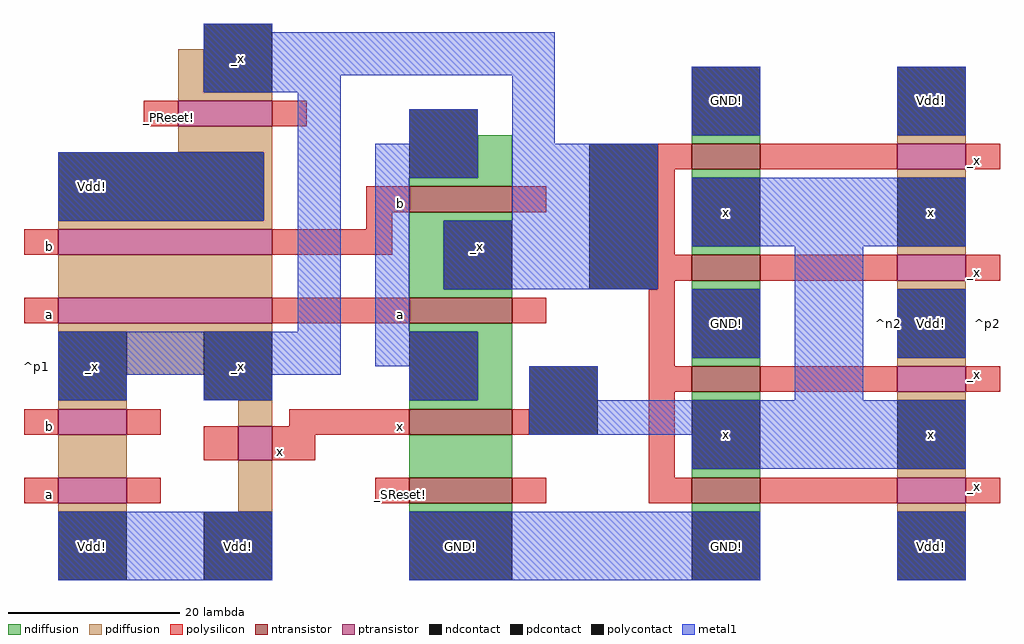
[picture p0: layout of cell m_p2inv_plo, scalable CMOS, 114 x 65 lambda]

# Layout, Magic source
magic
tech scmos
<< ndiffusion >>
rect 135 81 139 86
rect 160 85 168 86
rect 127 80 139 81
rect 127 76 139 77
rect 127 68 131 76
rect 160 81 168 82
rect 160 72 168 73
rect 127 67 139 68
rect 127 63 139 64
rect 135 55 139 63
rect 160 68 168 69
rect 160 59 168 60
rect 127 54 139 55
rect 127 46 139 51
rect 160 55 168 56
rect 160 46 168 47
rect 127 42 139 43
rect 160 42 168 43
<< pdiffusion >>
rect 100 91 103 96
rect 100 90 111 91
rect 100 84 111 87
rect 110 76 111 84
rect 184 85 192 86
rect 86 75 111 76
rect 86 67 111 72
rect 184 81 192 82
rect 184 72 192 73
rect 86 63 111 64
rect 94 58 103 63
rect 86 54 94 55
rect 107 52 111 55
rect 184 68 192 69
rect 184 59 192 60
rect 86 46 94 51
rect 86 42 94 43
rect 107 42 111 48
rect 184 55 192 56
rect 184 46 192 47
rect 184 42 192 43
<< ntransistor >>
rect 127 77 139 80
rect 160 82 168 85
rect 160 69 168 72
rect 127 64 139 67
rect 127 51 139 54
rect 160 56 168 59
rect 127 43 139 46
rect 160 43 168 46
<< ptransistor >>
rect 100 87 111 90
rect 86 72 111 75
rect 184 82 192 85
rect 184 69 192 72
rect 86 64 111 67
rect 86 51 94 54
rect 107 48 111 52
rect 184 56 192 59
rect 86 43 94 46
rect 184 43 192 46
<< polysilicon >>
rect 96 87 100 90
rect 111 87 115 90
rect 122 77 127 80
rect 139 77 143 80
rect 122 75 125 77
rect 82 72 86 75
rect 111 72 125 75
rect 156 82 160 85
rect 168 82 184 85
rect 192 82 196 85
rect 156 72 158 82
rect 156 69 160 72
rect 168 69 184 72
rect 192 69 196 72
rect 156 68 158 69
rect 82 64 86 67
rect 111 64 127 67
rect 139 64 143 67
rect 82 51 86 54
rect 94 51 98 54
rect 155 59 158 68
rect 113 52 127 54
rect 103 48 107 52
rect 111 51 127 52
rect 139 51 141 54
rect 155 56 160 59
rect 168 56 184 59
rect 192 56 196 59
rect 111 48 116 51
rect 82 43 86 46
rect 94 43 98 46
rect 155 46 158 56
rect 123 43 127 46
rect 139 43 143 46
rect 155 43 160 46
rect 168 43 184 46
rect 192 43 196 46
<< ndcontact >>
rect 127 81 135 89
rect 160 86 168 94
rect 131 68 139 76
rect 160 73 168 81
rect 127 55 135 63
rect 160 60 168 68
rect 160 47 168 55
rect 127 34 139 42
rect 160 34 168 42
<< pdcontact >>
rect 103 91 111 99
rect 86 76 110 84
rect 184 86 192 94
rect 184 73 192 81
rect 86 55 94 63
rect 103 55 111 63
rect 184 60 192 68
rect 184 47 192 55
rect 86 34 94 42
rect 103 34 111 42
rect 184 34 192 42
<< polycontact >>
rect 148 68 156 85
rect 141 51 149 59
<< metal1 >>
rect 103 98 111 99
rect 103 93 144 98
rect 103 91 119 93
rect 86 76 110 84
rect 114 63 119 91
rect 127 85 135 89
rect 86 58 119 63
rect 123 81 135 85
rect 139 85 144 93
rect 160 86 168 94
rect 184 86 192 94
rect 123 63 127 81
rect 139 76 156 85
rect 131 68 156 76
rect 160 73 192 81
rect 123 59 135 63
rect 160 60 168 68
rect 86 55 94 58
rect 103 55 111 58
rect 127 55 135 59
rect 141 55 149 59
rect 172 55 180 73
rect 184 60 192 68
rect 141 51 192 55
rect 160 47 192 51
rect 86 34 111 42
rect 127 34 168 42
rect 184 34 192 42
<< labels >>
rlabel metal1 107 38 107 38 1 Vdd!
rlabel polysilicon 85 73 85 73 3 b
rlabel polysilicon 85 65 85 65 3 a
rlabel polysilicon 85 52 85 52 3 b
rlabel polysilicon 85 44 85 44 3 a
rlabel metal1 90 80 90 80 1 Vdd!
rlabel metal1 90 38 90 38 1 Vdd!
rlabel metal1 133 38 133 38 1 GND!
rlabel polysilicon 126 52 126 52 1 x
rlabel polysilicon 126 78 126 78 1 b
rlabel polysilicon 126 65 126 65 1 a
rlabel metal1 135 73 135 73 1 _x
rlabel polysilicon 193 83 193 83 1 _x
rlabel pdcontact 188 90 188 90 5 Vdd!
rlabel ndcontact 164 90 164 90 5 GND!
rlabel ndcontact 164 38 164 38 1 GND!
rlabel polysilicon 193 58 193 58 5 _x
rlabel polysilicon 193 45 193 45 5 _x
rlabel pdcontact 188 38 188 38 1 Vdd!
rlabel pdcontact 188 51 188 51 5 x
rlabel ndcontact 164 64 164 64 1 GND!
rlabel polysilicon 193 70 193 70 1 _x
rlabel pdcontact 188 64 188 64 1 Vdd!
rlabel pdcontact 188 77 188 77 1 x
rlabel ndcontact 164 77 164 77 1 x
rlabel ndcontact 164 51 164 51 5 x
rlabel polysilicon 126 44 126 44 1 _SReset!
rlabel polysilicon 112 49 112 49 5 x
rlabel metal1 90 59 90 59 1 _x
rlabel metal1 107 59 107 59 1 _x
rlabel metal1 107 95 107 95 5 _x
rlabel polysilicon 99 88 99 88 1 _PReset!
rlabel space 192 34 197 94 3 ^p2
rlabel space 168 33 198 95 3 ^n2
rlabel space 81 34 86 84 7 ^p1
<< end >>
